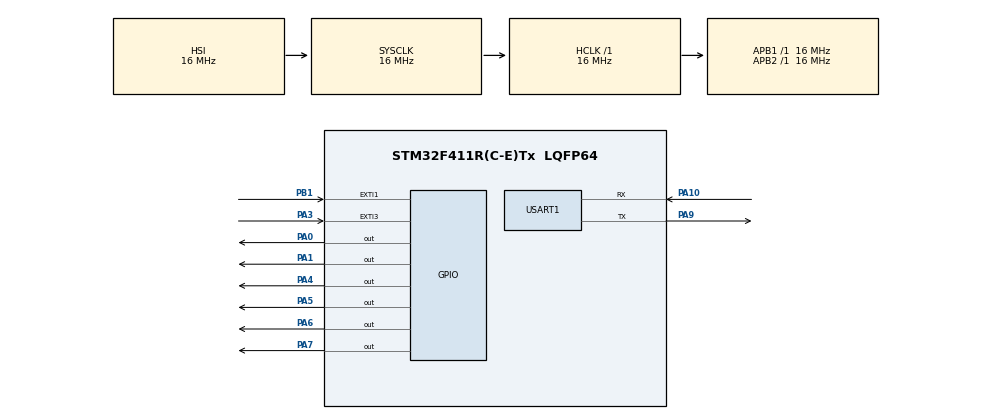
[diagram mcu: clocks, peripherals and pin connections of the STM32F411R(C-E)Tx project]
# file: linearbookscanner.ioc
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FREERTOS.Tasks01=defaultTask,24,128,StartDefaultTask,Default,NULL,Dynamic,NULL,NULL;UART_Task,24,128,StartTask02,Default,NULL,Dynamic,NULL,NULL
Mcu.Family=STM32F4
Mcu.Name=STM32F411R(C-E)Tx
Mcu.Package=LQFP64
NVIC.PriorityGroup=NVIC_PRIORITYGROUP_4
NVIC.TIM1_TRG_COM_TIM11_IRQn=true\:15\:0\:false\:false\:true\:false\:false\:true\:true
NVIC.TIM3_IRQn=true\:5\:0\:false\:false\:true\:true\:true\:true\:true
NVIC.TimeBase=TIM1_TRG_COM_TIM11_IRQn
NVIC.TimeBaseIP=TIM11
PA0-WKUP.Signal=GPIO_Output
PA1.Signal=GPIO_Output
PA10.Mode=Asynchronous
PA10.Signal=USART1_RX
PA3.GPIO_ModeDefaultEXTI=GPIO_MODE_IT_FALLING
PA3.GPIO_PuPd=GPIO_PULLDOWN
PA3.Signal=GPXTI3
PA4.Signal=GPIO_Output
PA5.Signal=GPIO_Output
PA6.Signal=GPIO_Output
PA7.Signal=GPIO_Output
PA9.Mode=Asynchronous
PA9.Signal=USART1_TX
PB1.GPIO_ModeDefaultEXTI=GPIO_MODE_IT_FALLING
PB1.Signal=GPXTI1
ProjectManager.HeapSize=0x200
ProjectManager.StackSize=0x400
ProjectManager.TargetToolchain=STM32CubeIDE
RCC.AHBFreq_Value=16000000
RCC.APB1Freq_Value=16000000
RCC.APB2Freq_Value=16000000
RCC.CortexFreq_Value=16000000
RCC.HSE_VALUE=25000000
RCC.HSI_VALUE=16000000
RCC.LSE_VALUE=32768
RCC.SYSCLKFreq_VALUE=16000000
RCC.VCOOutputFreq_Value=192000000
TIM2.Period=50
TIM2.Prescaler=15999
TIM3.Period=50
TIM3.Prescaler=15999
USART1.VirtualMode=VM_ASYNC
VP_FREERTOS_VS_CMSIS_V2.Mode=CMSIS_V2
VP_SYS_VS_tim11.Mode=TIM11
VP_TIM2_VS_ClockSourceINT.Mode=Internal
VP_TIM3_VS_ClockSourceINT.Mode=Internal
board=custom

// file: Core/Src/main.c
/* USER CODE BEGIN Header */
/**
  ******************************************************************************
  * @file           : main.c
  * @brief          : Main program body
  ******************************************************************************
  * @attention
  *
  * Copyright (c) 2025 STMicroelectronics.
  * All rights reserved.
  *
  * This software is licensed under terms that can be found in the LICENSE file
  * in the root directory of this software component.
  * If no LICENSE file comes with this software, it is provided AS-IS.
  *
  ******************************************************************************
  */
/* USER CODE END Header */
#include "main.h"
#include "cmsis_os.h"

TIM_HandleTypeDef htim2;
TIM_HandleTypeDef htim3;

UART_HandleTypeDef huart1;

/* Definitions for defaultTask */
osThreadId_t defaultTaskHandle;
const osThreadAttr_t defaultTask_attributes = {
  .name = "defaultTask",
  .stack_size = 128 * 4,
  .priority = (osPriority_t) osPriorityNormal,
};
/* Definitions for UART_Task */
osThreadId_t UART_TaskHandle;
const osThreadAttr_t UART_Task_attributes = {
  .name = "UART_Task",
  .stack_size = 128 * 4,
  .priority = (osPriority_t) osPriorityNormal,
};

void SystemClock_Config(void);
static void MX_GPIO_Init(void);
static void MX_USART1_UART_Init(void);
static void MX_TIM2_Init(void);
static void MX_TIM3_Init(void);
void StartDefaultTask(void *argument);
void StartTask02(void *argument);

int main(void)
{

  /* MCU Configuration--------------------------------------------------------*/

  /* Reset of all peripherals, Initializes the Flash interface and the Systick. */
  HAL_Init();

  /* Configure the system clock */
  SystemClock_Config();

  /* Initialize all configured peripherals */
  MX_GPIO_Init();
  MX_USART1_UART_Init();
  MX_TIM2_Init();
  MX_TIM3_Init();

  /* Init scheduler */
  osKernelInitialize();

  /* Create the thread(s) */
  /* creation of defaultTask */
  defaultTaskHandle = osThreadNew(StartDefaultTask, NULL, &defaultTask_attributes);

  /* creation of UART_Task */
  UART_TaskHandle = osThreadNew(StartTask02, NULL, &UART_Task_attributes);

  /* Start scheduler */
  osKernelStart();

  /* We should never get here as control is now taken by the scheduler */

  /* Infinite loop */
  while (1)
  {

  }
}

void SystemClock_Config(void)
{
  RCC_OscInitTypeDef RCC_OscInitStruct = {0};
  RCC_ClkInitTypeDef RCC_ClkInitStruct = {0};

  /** Configure the main internal regulator output voltage
  */
  __HAL_RCC_PWR_CLK_ENABLE();
  __HAL_PWR_VOLTAGESCALING_CONFIG(PWR_REGULATOR_VOLTAGE_SCALE1);

  /** Initializes the RCC Oscillators according to the specified parameters
  * in the RCC_OscInitTypeDef structure.
  */
  RCC_OscInitStruct.OscillatorType = RCC_OSCILLATORTYPE_HSI;
  RCC_OscInitStruct.HSIState = RCC_HSI_ON;
  RCC_OscInitStruct.HSICalibrationValue = RCC_HSICALIBRATION_DEFAULT;
  RCC_OscInitStruct.PLL.PLLState = RCC_PLL_NONE;
  if (HAL_RCC_OscConfig(&RCC_OscInitStruct) != HAL_OK)
  {
    Error_Handler();
  }

  /** Initializes the CPU, AHB and APB buses clocks
  */
  RCC_ClkInitStruct.ClockType = RCC_CLOCKTYPE_HCLK|RCC_CLOCKTYPE_SYSCLK
                              |RCC_CLOCKTYPE_PCLK1|RCC_CLOCKTYPE_PCLK2;
  RCC_ClkInitStruct.SYSCLKSource = RCC_SYSCLKSOURCE_HSI;
  RCC_ClkInitStruct.AHBCLKDivider = RCC_SYSCLK_DIV1;
  RCC_ClkInitStruct.APB1CLKDivider = RCC_HCLK_DIV1;
  RCC_ClkInitStruct.APB2CLKDivider = RCC_HCLK_DIV1;

  if (HAL_RCC_ClockConfig(&RCC_ClkInitStruct, FLASH_LATENCY_0) != HAL_OK)
  {
    Error_Handler();
  }
}

static void MX_TIM2_Init(void)
{

  TIM_ClockConfigTypeDef sClockSourceConfig = {0};
  TIM_MasterConfigTypeDef sMasterConfig = {0};

  htim2.Instance = TIM2;
  htim2.Init.Prescaler = 15999;
  htim2.Init.CounterMode = TIM_COUNTERMODE_UP;
  htim2.Init.Period = 50;
  htim2.Init.ClockDivision = TIM_CLOCKDIVISION_DIV1;
  htim2.Init.AutoReloadPreload = TIM_AUTORELOAD_PRELOAD_DISABLE;
  if (HAL_TIM_Base_Init(&htim2) != HAL_OK)
  {
    Error_Handler();
  }
  sClockSourceConfig.ClockSource = TIM_CLOCKSOURCE_INTERNAL;
  if (HAL_TIM_ConfigClockSource(&htim2, &sClockSourceConfig) != HAL_OK)
  {
    Error_Handler();
  }
  sMasterConfig.MasterOutputTrigger = TIM_TRGO_RESET;
  sMasterConfig.MasterSlaveMode = TIM_MASTERSLAVEMODE_DISABLE;
  if (HAL_TIMEx_MasterConfigSynchronization(&htim2, &sMasterConfig) != HAL_OK)
  {
    Error_Handler();
  }

}

static void MX_TIM3_Init(void)
{

  TIM_ClockConfigTypeDef sClockSourceConfig = {0};
  TIM_MasterConfigTypeDef sMasterConfig = {0};

  htim3.Instance = TIM3;
  htim3.Init.Prescaler = 15999;
  htim3.Init.CounterMode = TIM_COUNTERMODE_UP;
  htim3.Init.Period = 50;
  htim3.Init.ClockDivision = TIM_CLOCKDIVISION_DIV1;
  htim3.Init.AutoReloadPreload = TIM_AUTORELOAD_PRELOAD_DISABLE;
  if (HAL_TIM_Base_Init(&htim3) != HAL_OK)
  {
    Error_Handler();
  }
  sClockSourceConfig.ClockSource = TIM_CLOCKSOURCE_INTERNAL;
  if (HAL_TIM_ConfigClockSource(&htim3, &sClockSourceConfig) != HAL_OK)
  {
    Error_Handler();
  }
  sMasterConfig.MasterOutputTrigger = TIM_TRGO_RESET;
  sMasterConfig.MasterSlaveMode = TIM_MASTERSLAVEMODE_DISABLE;
  if (HAL_TIMEx_MasterConfigSynchronization(&htim3, &sMasterConfig) != HAL_OK)
  {
    Error_Handler();
  }

}

static void MX_USART1_UART_Init(void)
{

  huart1.Instance = USART1;
  huart1.Init.BaudRate = 115200;
  huart1.Init.WordLength = UART_WORDLENGTH_8B;
  huart1.Init.StopBits = UART_STOPBITS_1;
  huart1.Init.Parity = UART_PARITY_NONE;
  huart1.Init.Mode = UART_MODE_TX_RX;
  huart1.Init.HwFlowCtl = UART_HWCONTROL_NONE;
  huart1.Init.OverSampling = UART_OVERSAMPLING_16;
  if (HAL_UART_Init(&huart1) != HAL_OK)
  {
    Error_Handler();
  }

}

static void MX_GPIO_Init(void)
{
  GPIO_InitTypeDef GPIO_InitStruct = {0};

  /* GPIO Ports Clock Enable */
  __HAL_RCC_GPIOA_CLK_ENABLE();
  __HAL_RCC_GPIOB_CLK_ENABLE();

  /*Configure GPIO pin Output Level */
  HAL_GPIO_WritePin(GPIOA, GPIO_PIN_0|GPIO_PIN_1|GPIO_PIN_4|GPIO_PIN_5
                          |GPIO_PIN_6|GPIO_PIN_7, GPIO_PIN_RESET);

  /*Configure GPIO pins : PA0 PA1 PA4 PA5
                           PA6 PA7 */
  GPIO_InitStruct.Pin = GPIO_PIN_0|GPIO_PIN_1|GPIO_PIN_4|GPIO_PIN_5
                          |GPIO_PIN_6|GPIO_PIN_7;
  GPIO_InitStruct.Mode = GPIO_MODE_OUTPUT_PP;
  GPIO_InitStruct.Pull = GPIO_NOPULL;
  GPIO_InitStruct.Speed = GPIO_SPEED_FREQ_LOW;
  HAL_GPIO_Init(GPIOA, &GPIO_InitStruct);

  /*Configure GPIO pin : PA3 */
  GPIO_InitStruct.Pin = GPIO_PIN_3;
  GPIO_InitStruct.Mode = GPIO_MODE_IT_FALLING;
  GPIO_InitStruct.Pull = GPIO_PULLDOWN;
  HAL_GPIO_Init(GPIOA, &GPIO_InitStruct);

  /*Configure GPIO pin : PB1 */
  GPIO_InitStruct.Pin = GPIO_PIN_1;
  GPIO_InitStruct.Mode = GPIO_MODE_IT_FALLING;
  GPIO_InitStruct.Pull = GPIO_NOPULL;
  HAL_GPIO_Init(GPIOB, &GPIO_InitStruct);

}

/* USER CODE BEGIN 4 */
// EXTI Callback for Button Press
// EXTI Callback for PA2 and PA3 buttons
void HAL_GPIO_EXTI_Callback(uint16_t GPIO_Pin) {
    if (GPIO_Pin == GPIO_PIN_2) {  // Button 1 (PA2)
        __HAL_TIM_SET_COUNTER(&htim2, 0);
        HAL_TIM_Base_Start_IT(&htim2);
    } else if (GPIO_Pin == GPIO_PIN_3) {  // Button 2 (PA3)
        __HAL_TIM_SET_COUNTER(&htim3, 0);
        HAL_TIM_Base_Start_IT(&htim3);
    }
    else if(GPIO_Pin == GPIO_PIN_1) {
        __HAL_TIM_SET_COUNTER(&htim3, 0);
        HAL_TIM_Base_Start_IT(&htim3);
    }
}

/* USER CODE END 4 */

void StartDefaultTask(void *argument)
{
  /* USER CODE BEGIN 5 */
  /* Infinite loop */
  for(;;)
  {

	// Go to 90 degrees
//	go_to_angle(90.0, 1); // 90 degrees, 1ms delay per step
//	HAL_Delay(500);
//	 Go to 180 degrees
//	go_to_angle(180.0, 1); // 180 degrees, 1ms delay per step
  }
  /* USER CODE END 5 */
}

void StartTask02(void *argument)
{
  /* USER CODE BEGIN StartTask02 */
  /* Infinite loop */
	uint32_t seq = 0;
  for(;;)
  {
	  runCommsTask(&seq);
  }
  /* USER CODE END StartTask02 */
}

void HAL_TIM_PeriodElapsedCallback(TIM_HandleTypeDef *htim)
{
  if (htim->Instance == TIM11) {
    HAL_IncTick();
  }
  /* USER CODE BEGIN Callback 1 */
  else if (htim->Instance == TIM2) {  // Debounce timer for PA2
      HAL_TIM_Base_Stop_IT(&htim2);
      if (HAL_GPIO_ReadPin(GPIOA, GPIO_PIN_2) == GPIO_PIN_RESET) {  // Confirm button press
    	  HAL_GPIO_TogglePin(GPIOA, GPIO_PIN_5);
    	  HAL_GPIO_TogglePin(GPIOB, GPIO_PIN_0);  // Example action: Toggle LED
      }
  } else if (htim->Instance == TIM3) {  // Debounce timer for PA3
      HAL_TIM_Base_Stop_IT(&htim3);
      if (HAL_GPIO_ReadPin(GPIOA, GPIO_PIN_3) == GPIO_PIN_RESET) {  // Confirm button press
          HAL_GPIO_TogglePin(GPIOB, GPIO_PIN_7);  // Example action: Toggle another LED
      }}
  /* USER CODE END Callback 1 */
}

void Error_Handler(void)
{
  __disable_irq();
  while (1)
  {
  }
}
